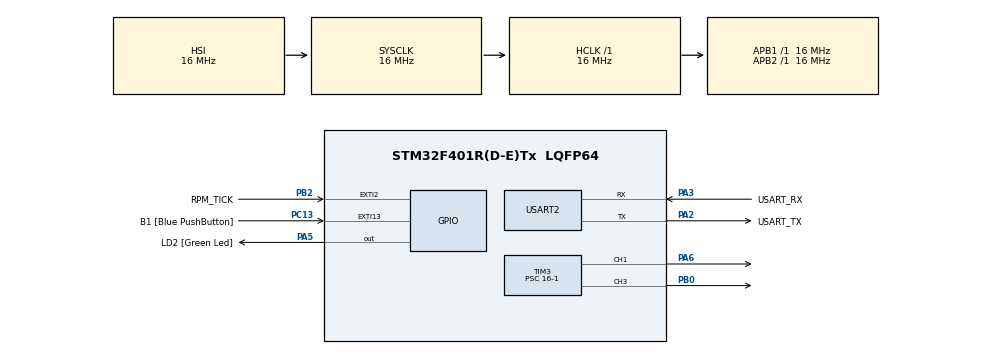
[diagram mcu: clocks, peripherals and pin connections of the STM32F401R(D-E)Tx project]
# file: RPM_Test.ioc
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Mcu.Family=STM32F4
Mcu.Name=STM32F401R(D-E)Tx
Mcu.Package=LQFP64
NVIC.EXTI15_10_IRQn=true\:0\:0\:false\:false\:true\:true\:true\:true
NVIC.EXTI2_IRQn=true\:0\:0\:false\:false\:true\:true\:true\:true
NVIC.PriorityGroup=NVIC_PRIORITYGROUP_4
PA13.GPIO_Label=TMS
PA13.Mode=Trace_Asynchronous_SW
PA13.Signal=SYS_JTMS-SWDIO
PA14.GPIO_Label=TCK
PA14.Mode=Trace_Asynchronous_SW
PA14.Signal=SYS_JTCK-SWCLK
PA2.GPIO_Label=USART_TX
PA2.GPIO_Mode=GPIO_MODE_AF_PP
PA2.GPIO_PuPd=GPIO_NOPULL
PA2.GPIO_Speed=GPIO_SPEED_FREQ_LOW
PA2.Mode=Asynchronous
PA2.Signal=USART2_TX
PA3.GPIO_Label=USART_RX
PA3.GPIO_Mode=GPIO_MODE_AF_PP
PA3.GPIO_PuPd=GPIO_NOPULL
PA3.GPIO_Speed=GPIO_SPEED_FREQ_LOW
PA3.Mode=Asynchronous
PA3.Signal=USART2_RX
PA5.GPIO_Label=LD2 [Green Led]
PA5.GPIO_Mode=GPIO_MODE_OUTPUT_PP
PA5.GPIO_PuPd=GPIO_NOPULL
PA5.GPIO_Speed=GPIO_SPEED_FREQ_LOW
PA5.Signal=GPIO_Output
PA6.Signal=S_TIM3_CH1
PB0.Signal=S_TIM3_CH3
PB2.GPIO_Label=RPM_TICK
PB2.Signal=GPXTI2
PB3.GPIO_Label=SWO
PB3.Mode=Trace_Asynchronous_SW
PB3.Signal=SYS_JTDO-SWO
PC13-ANTI_TAMP.GPIO_Label=B1 [Blue PushButton]
PC13-ANTI_TAMP.GPIO_ModeDefaultEXTI=GPIO_MODE_IT_FALLING
PC13-ANTI_TAMP.GPIO_PuPd=GPIO_NOPULL
PC13-ANTI_TAMP.Signal=GPXTI13
PC14-OSC32_IN.Mode=LSE-External-Oscillator
PC14-OSC32_IN.Signal=RCC_OSC32_IN
PC15-OSC32_OUT.Mode=LSE-External-Oscillator
PC15-OSC32_OUT.Signal=RCC_OSC32_OUT
PH0\ -\ OSC_IN.Mode=HSE-External-Clock-Source
PH0\ -\ OSC_IN.Signal=RCC_OSC_IN
PH1\ -\ OSC_OUT.Mode=HSE-External-Clock-Source
PH1\ -\ OSC_OUT.Signal=RCC_OSC_OUT
ProjectManager.HeapSize=0x200
ProjectManager.StackSize=0x400
ProjectManager.TargetToolchain=STM32CubeIDE
RCC.48MHZClocksFreq_Value=48000000
RCC.AHBFreq_Value=16000000
RCC.APB1Freq_Value=16000000
RCC.APB1TimFreq_Value=16000000
RCC.APB2Freq_Value=16000000
RCC.APB2TimFreq_Value=16000000
RCC.CortexFreq_Value=16000000
RCC.HCLKFreq_Value=16000000
RCC.HSE_VALUE=8000000
RCC.HSI_VALUE=16000000
RCC.PLLN=336
RCC.PLLP=RCC_PLLP_DIV4
RCC.PLLQ=7
RCC.SYSCLKFreq_VALUE=16000000
RCC.VCOOutputFreq_Value=336000000
SH.S_TIM3_CH1.0=TIM3_CH1,PWM Generation1 CH1
SH.S_TIM3_CH3.0=TIM3_CH3,PWM Generation3 CH3
TIM3.AutoReloadPreload=TIM_AUTORELOAD_PRELOAD_ENABLE
TIM3.Channel-PWM\ Generation1\ CH1=TIM_CHANNEL_1
TIM3.Channel-PWM\ Generation3\ CH3=TIM_CHANNEL_3
TIM3.Period=2000-1
TIM3.Prescaler=16-1
TIM3.Pulse-PWM\ Generation1\ CH1=1200-1
USART2.VirtualMode=VM_ASYNC
VP_TIM3_VS_ClockSourceINT.Mode=Internal
board=NUCLEO-F401RE

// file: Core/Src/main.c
/* USER CODE BEGIN Header */
/**
  ******************************************************************************
  * @file           : main.c
  * @brief          : Main program body
  ******************************************************************************
  * @attention
  *
  * Copyright (c) 2026 STMicroelectronics.
  * All rights reserved.
  *
  * This software is licensed under terms that can be found in the LICENSE file
  * in the root directory of this software component.
  * If no LICENSE file comes with this software, it is provided AS-IS.
  *
  ******************************************************************************
  */
/* USER CODE END Header */
#include "main.h"

/* USER CODE BEGIN Includes */
#include <stdio.h>
#include <string.h>
/* USER CODE END Includes */

TIM_HandleTypeDef htim3;

UART_HandleTypeDef huart2;

/* USER CODE BEGIN PV */
volatile uint32_t rpm_tick_count = 0;
/* USER CODE END PV */

void SystemClock_Config(void);
static void MX_GPIO_Init(void);
static void MX_USART2_UART_Init(void);
static void MX_TIM3_Init(void);
/* USER CODE BEGIN PFP */
void Print_RPM_Tick_Count(void);
/* USER CODE END PFP */

/* USER CODE BEGIN 0 */
void Print_RPM_Tick_Count(void)
{
  char msg[64];

  sprintf(msg, "RPM Tick Count: %lu\r\n", rpm_tick_count);
  HAL_UART_Transmit(&huart2, (uint8_t*)msg, strlen(msg), 100);
}
/* USER CODE END 0 */

int main(void)
{

  /* MCU Configuration--------------------------------------------------------*/

  /* Reset of all peripherals, Initializes the Flash interface and the Systick. */
  HAL_Init();

  /* Configure the system clock */
  SystemClock_Config();

  /* Initialize all configured peripherals */
  MX_GPIO_Init();
  MX_USART2_UART_Init();
  MX_TIM3_Init();
  /* USER CODE BEGIN 2 */
  HAL_TIM_PWM_Start(&htim3, TIM_CHANNEL_1);
  HAL_TIM_PWM_Start(&htim3, TIM_CHANNEL_3);

  __HAL_TIM_SET_COMPARE(&htim3, TIM_CHANNEL_1, 1200); // PC6 / TIM3_CH1 forward PWM
  __HAL_TIM_SET_COMPARE(&htim3, TIM_CHANNEL_3, 0);    // PB0 / TIM3_CH3 reverse off
  /* USER CODE END 2 */

  /* Infinite loop */
  /* USER CODE BEGIN WHILE */
  while (1)
  {
      // Forward
      __HAL_TIM_SET_COMPARE(&htim3, TIM_CHANNEL_1, 1200); // PC6 / IA
      __HAL_TIM_SET_COMPARE(&htim3, TIM_CHANNEL_3, 0);    // PB0 / IB

      for (int i = 0; i < 6; i++)
      {
          Print_RPM_Tick_Count();
          HAL_Delay(500);
      }

      // Stop
      __HAL_TIM_SET_COMPARE(&htim3, TIM_CHANNEL_1, 0);
      __HAL_TIM_SET_COMPARE(&htim3, TIM_CHANNEL_3, 0);

      for (int i = 0; i < 2; i++)
      {
          Print_RPM_Tick_Count();
          HAL_Delay(500);
      }

      // Reverse
      __HAL_TIM_SET_COMPARE(&htim3, TIM_CHANNEL_1, 0);    // PC6 / IA
      __HAL_TIM_SET_COMPARE(&htim3, TIM_CHANNEL_3, 1200); // PB0 / IB

      for (int i = 0; i < 6; i++)
      {
          Print_RPM_Tick_Count();
          HAL_Delay(500);
      }

      // Stop
      __HAL_TIM_SET_COMPARE(&htim3, TIM_CHANNEL_1, 0);
      __HAL_TIM_SET_COMPARE(&htim3, TIM_CHANNEL_3, 0);

      for (int i = 0; i < 2; i++)
      {
          Print_RPM_Tick_Count();
          HAL_Delay(500);
      }

    /* USER CODE END WHILE */

  }
}

void SystemClock_Config(void)
{
  RCC_OscInitTypeDef RCC_OscInitStruct = {0};
  RCC_ClkInitTypeDef RCC_ClkInitStruct = {0};

  /** Configure the main internal regulator output voltage
  */
  __HAL_RCC_PWR_CLK_ENABLE();
  __HAL_PWR_VOLTAGESCALING_CONFIG(PWR_REGULATOR_VOLTAGE_SCALE2);

  /** Initializes the RCC Oscillators according to the specified parameters
  * in the RCC_OscInitTypeDef structure.
  */
  RCC_OscInitStruct.OscillatorType = RCC_OSCILLATORTYPE_HSI;
  RCC_OscInitStruct.HSIState = RCC_HSI_ON;
  RCC_OscInitStruct.HSICalibrationValue = RCC_HSICALIBRATION_DEFAULT;
  RCC_OscInitStruct.PLL.PLLState = RCC_PLL_NONE;
  if (HAL_RCC_OscConfig(&RCC_OscInitStruct) != HAL_OK)
  {
    Error_Handler();
  }

  /** Initializes the CPU, AHB and APB buses clocks
  */
  RCC_ClkInitStruct.ClockType = RCC_CLOCKTYPE_HCLK|RCC_CLOCKTYPE_SYSCLK
                              |RCC_CLOCKTYPE_PCLK1|RCC_CLOCKTYPE_PCLK2;
  RCC_ClkInitStruct.SYSCLKSource = RCC_SYSCLKSOURCE_HSI;
  RCC_ClkInitStruct.AHBCLKDivider = RCC_SYSCLK_DIV1;
  RCC_ClkInitStruct.APB1CLKDivider = RCC_HCLK_DIV1;
  RCC_ClkInitStruct.APB2CLKDivider = RCC_HCLK_DIV1;

  if (HAL_RCC_ClockConfig(&RCC_ClkInitStruct, FLASH_LATENCY_0) != HAL_OK)
  {
    Error_Handler();
  }
}

static void MX_TIM3_Init(void)
{

  TIM_ClockConfigTypeDef sClockSourceConfig = {0};
  TIM_MasterConfigTypeDef sMasterConfig = {0};
  TIM_OC_InitTypeDef sConfigOC = {0};

  htim3.Instance = TIM3;
  htim3.Init.Prescaler = 16-1;
  htim3.Init.CounterMode = TIM_COUNTERMODE_UP;
  htim3.Init.Period = 2000-1;
  htim3.Init.ClockDivision = TIM_CLOCKDIVISION_DIV1;
  htim3.Init.AutoReloadPreload = TIM_AUTORELOAD_PRELOAD_ENABLE;
  if (HAL_TIM_Base_Init(&htim3) != HAL_OK)
  {
    Error_Handler();
  }
  sClockSourceConfig.ClockSource = TIM_CLOCKSOURCE_INTERNAL;
  if (HAL_TIM_ConfigClockSource(&htim3, &sClockSourceConfig) != HAL_OK)
  {
    Error_Handler();
  }
  if (HAL_TIM_PWM_Init(&htim3) != HAL_OK)
  {
    Error_Handler();
  }
  sMasterConfig.MasterOutputTrigger = TIM_TRGO_RESET;
  sMasterConfig.MasterSlaveMode = TIM_MASTERSLAVEMODE_DISABLE;
  if (HAL_TIMEx_MasterConfigSynchronization(&htim3, &sMasterConfig) != HAL_OK)
  {
    Error_Handler();
  }
  sConfigOC.OCMode = TIM_OCMODE_PWM1;
  sConfigOC.Pulse = 1200-1;
  sConfigOC.OCPolarity = TIM_OCPOLARITY_HIGH;
  sConfigOC.OCFastMode = TIM_OCFAST_DISABLE;
  if (HAL_TIM_PWM_ConfigChannel(&htim3, &sConfigOC, TIM_CHANNEL_1) != HAL_OK)
  {
    Error_Handler();
  }
  sConfigOC.Pulse = 0;
  if (HAL_TIM_PWM_ConfigChannel(&htim3, &sConfigOC, TIM_CHANNEL_3) != HAL_OK)
  {
    Error_Handler();
  }
  HAL_TIM_MspPostInit(&htim3);

}

static void MX_USART2_UART_Init(void)
{

  huart2.Instance = USART2;
  huart2.Init.BaudRate = 115200;
  huart2.Init.WordLength = UART_WORDLENGTH_8B;
  huart2.Init.StopBits = UART_STOPBITS_1;
  huart2.Init.Parity = UART_PARITY_NONE;
  huart2.Init.Mode = UART_MODE_TX_RX;
  huart2.Init.HwFlowCtl = UART_HWCONTROL_NONE;
  huart2.Init.OverSampling = UART_OVERSAMPLING_16;
  if (HAL_UART_Init(&huart2) != HAL_OK)
  {
    Error_Handler();
  }

}

static void MX_GPIO_Init(void)
{
  GPIO_InitTypeDef GPIO_InitStruct = {0};

  /* GPIO Ports Clock Enable */
  __HAL_RCC_GPIOC_CLK_ENABLE();
  __HAL_RCC_GPIOH_CLK_ENABLE();
  __HAL_RCC_GPIOA_CLK_ENABLE();
  __HAL_RCC_GPIOB_CLK_ENABLE();

  /*Configure GPIO pin Output Level */
  HAL_GPIO_WritePin(LD2_GPIO_Port, LD2_Pin, GPIO_PIN_RESET);

  /*Configure GPIO pin : B1_Pin */
  GPIO_InitStruct.Pin = B1_Pin;
  GPIO_InitStruct.Mode = GPIO_MODE_IT_FALLING;
  GPIO_InitStruct.Pull = GPIO_NOPULL;
  HAL_GPIO_Init(B1_GPIO_Port, &GPIO_InitStruct);

  /*Configure GPIO pin : LD2_Pin */
  GPIO_InitStruct.Pin = LD2_Pin;
  GPIO_InitStruct.Mode = GPIO_MODE_OUTPUT_PP;
  GPIO_InitStruct.Pull = GPIO_NOPULL;
  GPIO_InitStruct.Speed = GPIO_SPEED_FREQ_LOW;
  HAL_GPIO_Init(LD2_GPIO_Port, &GPIO_InitStruct);

  /*Configure GPIO pin : RPM_TICK_Pin */
  GPIO_InitStruct.Pin = RPM_TICK_Pin;
  GPIO_InitStruct.Mode = GPIO_MODE_IT_RISING;
  GPIO_InitStruct.Pull = GPIO_NOPULL;
  HAL_GPIO_Init(RPM_TICK_GPIO_Port, &GPIO_InitStruct);

  /* EXTI interrupt init*/
  HAL_NVIC_SetPriority(EXTI2_IRQn, 0, 0);
  HAL_NVIC_EnableIRQ(EXTI2_IRQn);

  HAL_NVIC_SetPriority(EXTI15_10_IRQn, 0, 0);
  HAL_NVIC_EnableIRQ(EXTI15_10_IRQn);

}

/* USER CODE BEGIN 4 */
void HAL_GPIO_EXTI_Callback(uint16_t GPIO_Pin)
{
	if(GPIO_Pin == RPM_TICK_Pin)
	{
		rpm_tick_count += 1;
	}
}

/* USER CODE END 4 */

void Error_Handler(void)
{
  __disable_irq();
  while (1)
  {
  }
}
